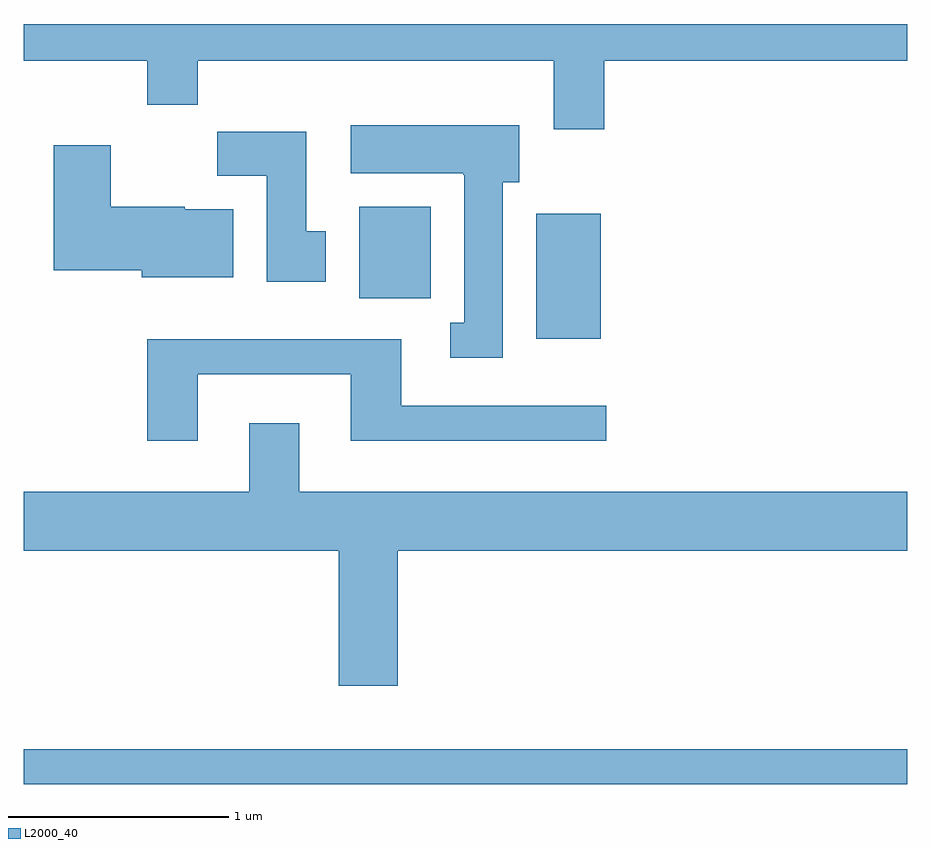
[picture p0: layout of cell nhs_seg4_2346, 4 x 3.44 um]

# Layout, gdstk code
import gdstk
lib = gdstk.Library(unit=1e-6, precision=1e-09)
def R(c, l, rs):  # rectangles x0, y0, x1, y1
    for r in rs: c.add(gdstk.rectangle(r[:2], r[2:], *l))
def P(c, l, *ps):  # polygons
    for p in ps: c.add(gdstk.Polygon(p, *l))
L2000_40 = (2000, 40)

nhs_seg4_2346 = lib.new_cell('nhs_seg4_2346')
R(nhs_seg4_2346, L2000_40, [(253.611,1322.541,257.611,1322.699), (255.931,1324.556,256.224,1325.124), (255.131,1324.741,255.454,1325.154)])
P(nhs_seg4_2346, L2000_40, [(256.239,1325.816),(257.611,1325.816),(257.611,1325.982),(253.611,1325.982),(253.611,1325.816),(254.171,1325.816),(254.171,1325.616),(254.399,1325.616),(254.399,1325.816),(256.011,1325.816),(256.011,1325.506),(256.239,1325.506)],
  [(255.779,1325.266),(255.854,1325.266),(255.854,1325.524),(255.091,1325.524),(255.091,1325.306),(255.6,1325.306),(255.6,1325.3),(255.606,1325.3),(255.606,1324.629),(255.543,1324.629),(255.543,1324.471),(255.779,1324.471)],
  [(254.979,1325.044),(254.889,1325.044),(254.889,1325.494),(254.486,1325.494),(254.486,1325.296),(254.711,1325.296),(254.711,1324.816),(254.979,1324.816)],
  [(254.559,1325.144),(254.34,1325.144),(254.34,1325.154),(254.004,1325.154),(254.004,1325.434),(253.746,1325.434),(253.746,1324.866),(254.146,1324.866),(254.146,1324.836),(254.559,1324.836)],
  [(254.399,1324.396),(255.091,1324.396),(255.091,1324.096),(256.248,1324.096),(256.248,1324.254),(255.319,1324.254),(255.319,1324.554),(254.171,1324.554),(254.171,1324.096),(254.399,1324.096)],
  [(255.304,1323.596),(257.611,1323.596),(257.611,1323.864),(254.859,1323.864),(254.859,1324.174),(254.631,1324.174),(254.631,1323.864),(253.611,1323.864),(253.611,1323.596),(255.036,1323.596),(255.036,1322.986),(255.304,1322.986)])

lib.write_gds('nhs_seg4_2346.gds')
